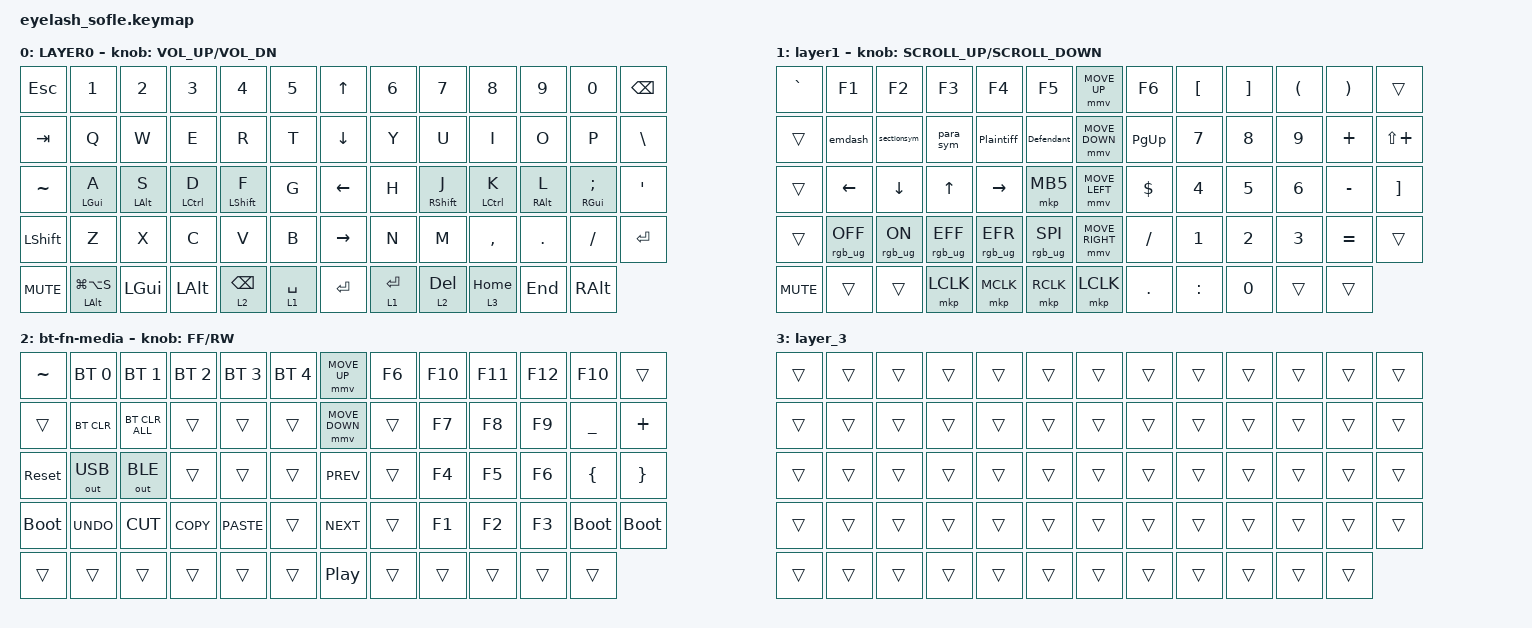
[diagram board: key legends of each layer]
#define ZMK_POINTING_DEFAULT_MOVE_VAL 1200  // 600
#define ZMK_POINTING_DEFAULT_SCRL_VAL 35    // 10

#include <input/processors.dtsi>
#include <zephyr/dt-bindings/input/input-event-codes.h>
#include <behaviors.dtsi>
#include <dt-bindings/zmk/bt.h>
#include <dt-bindings/zmk/keys.h>
#include <dt-bindings/zmk/outputs.h>
#include <dt-bindings/zmk/pointing.h>
#include <dt-bindings/zmk/pointing.h>
#include <dt-bindings/zmk/pointing.h>
#include <dt-bindings/zmk/rgb.h>

/ {
    zip_scroll_scaler: zip_scroll_scaler {
        compatible = "zmk,input-processor-scaler";
        #input-processor-cells = <2>;
        type = <INPUT_EV_REL>;
        codes = <INPUT_REL_WHEEL INPUT_REL_HWHEEL>;
        track-remainders;
    };
};

&mmv_input_listener { input-processors = <&zip_xy_scaler 2 1>; };

&msc_input_listener { input-processors = <&zip_scroll_scaler 2 1>; };

&msc {
    acceleration-exponent = <0>;      // 0
    time-to-max-speed-ms = <0>;       // 300
    delay-ms = <0>;                   // 0
};

&mmv {
    time-to-max-speed-ms = <400>;
    acceleration-exponent = <1>;
};

/ {
    scroll_encoder: scroll_encoder {
        compatible = "zmk,behavior-sensor-rotate";
        #sensor-binding-cells = <0>;
        bindings = <&msc SCRL_DOWN>, <&msc SCRL_UP>;

        tap-ms = <30>;
    };

    behaviors {
    };

    macros {
        emdash: emdash {
            compatible = "zmk,behavior-macro";
            #binding-cells = <0>;
            bindings = <&kp N0 &kp N1 &kp N5 &kp N1>;
            label = "EMDASH";
        };

        sectionsym: sectionsym {
            compatible = "zmk,behavior-macro";
            #binding-cells = <0>;
            bindings = <&kp N0 &kp N1 &kp N6 &kp N7>;
            label = "SECTIONSYM";
        };

        para_sym: para_sym {
            compatible = "zmk,behavior-macro";
            #binding-cells = <0>;
            bindings = <&kp N0 &kp N1 &kp N8 &kp N2>;
            label = "PARA_SYM";
        };

        Plaintiff: plaintiff {
            compatible = "zmk,behavior-macro";
            #binding-cells = <0>;
            bindings = <&kp LS(P) &kp L &kp A &kp I &kp N &kp T &kp I &kp F &kp F>;
            label = "PLAINTIFF";
        };

        Defendant: Defendant {
            compatible = "zmk,behavior-macro";
            #binding-cells = <0>;
            bindings = <&kp LS(D) &kp E &kp F &kp E &kp N &kp D &kp A &kp N &kp T>;
            label = "DEFENDANT";
        };

        copyright: copyright {
            compatible = "zmk,behavior-macro";
            #binding-cells = <0>;
            bindings = <&kp C &kp O &kp P &kp Y &kp R &kp I &kp G &kp H &kp T>;
            label = "COPYRIGHT";
        };
    };

    keymap {
        compatible = "zmk,keymap";

        layer0 {
            bindings = <
&kp ESC     &kp N1                  &kp N2        &kp N3        &kp N4            &kp N5         &kp UP_ARROW     &kp N6       &kp N7             &kp N8       &kp N9           &kp N0              &kp BACKSPACE
&kp TAB     &kp Q                   &kp W         &kp E         &kp R             &kp T          &kp DOWN_ARROW   &kp Y        &kp U              &kp I        &kp O            &kp P               &kp BSLH
&kp TILDE   &mt LEFT_GUI A          &mt LALT S    &mt LCTRL D   &mt LEFT_SHIFT F  &kp G          &kp LEFT_ARROW   &kp H        &mt RIGHT_SHIFT J  &mt LCTRL K  &mt RIGHT_ALT L  &mt RGUI SEMICOLON  &kp APOS
&kp LSHFT   &kp Z                   &kp X         &kp C         &kp V             &kp B          &kp RIGHT_ARROW  &kp N        &kp M              &kp COMMA    &kp DOT          &kp FSLH            &kp ENTER
&kp C_MUTE  &mt LEFT_ALT LG(LA(S))  &kp LEFT_GUI  &kp LEFT_ALT  &lt 2 BACKSPACE   &lt 1 SPACE    &kp ENTER        &lt 1 ENTER  &lt 2 DEL          &lt 3 HOME   &kp END          &kp RIGHT_ALT
            >;

            sensor-bindings = <&inc_dec_kp C_VOLUME_UP C_VOL_DN>;
            display-name = "LAYER0";
        };

        nav-num-rgb {
            bindings = <
&kp GRAVE   &kp F1           &kp F2          &kp F3           &kp F4           &kp F5             &mmv MOVE_UP     &kp F6      &kp LBKT   &kp RBKT  &kp LEFT_PARENTHESIS  &kp RIGHT_PARENTHESIS  &trans
&trans      &emdash          &sectionsym     &para_sym        &Plaintiff       &Defendant         &mmv MOVE_DOWN   &kp PG_UP   &kp N7     &kp N8    &kp N9                &kp PLUS               &kp LS(PLUS)
&trans      &kp LEFT         &kp DOWN        &kp UP_ARROW     &kp RIGHT        &mkp MB5           &mmv MOVE_LEFT   &kp DOLLAR  &kp N4     &kp N5    &kp N6                &kp MINUS              &kp RIGHT_BRACKET
&trans      &rgb_ug RGB_OFF  &rgb_ug RGB_ON  &rgb_ug RGB_EFF  &rgb_ug RGB_EFR  &rgb_ug RGB_SPI    &mmv MOVE_RIGHT  &kp FSLH    &kp N1     &kp N2    &kp N3                &kp EQUAL              &trans
&kp C_MUTE  &trans           &trans          &mkp LCLK        &mkp MCLK        &mkp RCLK          &mkp LCLK        &kp DOT     &kp COLON  &kp N0    &trans                &trans
            >;

            display-name = "layer1";
            sensor-bindings = <&inc_dec_kp K_SCROLL_UP K_SCROLL_DOWN>;
        };

        bt-fn-media {
            bindings = <
&kp TILDE    &bt BT_SEL 0  &bt BT_SEL 1    &bt BT_SEL 2  &bt BT_SEL 3  &bt BT_SEL 4    &mmv MOVE_UP      &kp F6  &kp F10  &kp F11  &kp F12  &kp F10      &trans
&trans       &bt BT_CLR    &bt BT_CLR_ALL  &trans        &trans        &trans          &mmv MOVE_DOWN    &trans  &kp F7   &kp F8   &kp F9   &kp UNDER    &kp PLUS
&sys_reset   &out OUT_USB  &out OUT_BLE    &trans        &trans        &trans          &kp C_PREV        &trans  &kp F4   &kp F5   &kp F6   &kp LBRC     &kp RBRC
&bootloader  &kp K_UNDO    &kp K_CUT       &kp K_COPY    &kp K_PASTE   &trans          &kp C_NEXT        &trans  &kp F1   &kp F2   &kp F3   &bootloader  &bootloader
&trans       &trans        &trans          &trans        &trans        &trans          &kp C_PLAY_PAUSE  &trans  &trans   &trans   &trans   &trans
            >;

            sensor-bindings = <&inc_dec_kp C_FF C_RW>;
        };

        layer_3 {
            bindings = <
&trans  &trans  &trans  &trans  &trans  &trans    &trans  &trans  &trans  &trans  &trans  &trans  &trans
&trans  &trans  &trans  &trans  &trans  &trans    &trans  &trans  &trans  &trans  &trans  &trans  &trans
&trans  &trans  &trans  &trans  &trans  &trans    &trans  &trans  &trans  &trans  &trans  &trans  &trans
&trans  &trans  &trans  &trans  &trans  &trans    &trans  &trans  &trans  &trans  &trans  &trans  &trans
&trans  &trans  &trans  &trans  &trans  &trans    &trans  &trans  &trans  &trans  &trans  &trans
            >;
        };
    };
};
